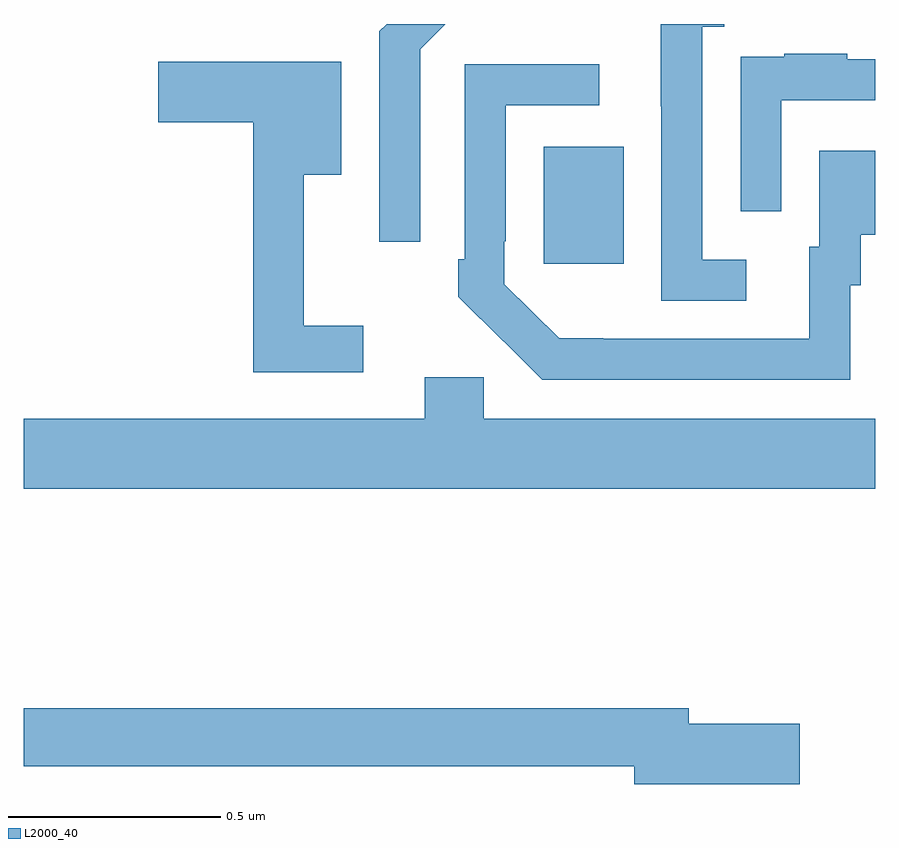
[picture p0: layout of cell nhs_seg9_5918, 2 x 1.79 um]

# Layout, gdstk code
import gdstk
lib = gdstk.Library(unit=1e-6, precision=1e-09)
def R(c, l, rs):  # rectangles x0, y0, x1, y1
    for r in rs: c.add(gdstk.rectangle(r[:2], r[2:], *l))
def P(c, l, *ps):  # polygons
    for p in ps: c.add(gdstk.Polygon(p, *l))
L2000_40 = (2000, 40)

nhs_seg9_5918 = lib.new_cell('nhs_seg9_5918')
R(nhs_seg9_5918, L2000_40, [(186.221,1208.937,186.409,1209.211)])
P(nhs_seg9_5918, L2000_40, [(185.931,1209.441),(185.99,1209.5),(185.852,1209.5),(185.835,1209.483),(185.835,1208.988),(185.931,1208.988)],
  [(186.697,1208.946),(186.594,1208.946),(186.594,1209.494),(186.646,1209.494),(186.646,1209.5),(186.497,1209.5),(186.497,1209.307),(186.498,1209.307),(186.498,1208.85),(186.697,1208.85)],
  [(186.78,1209.321),(187,1209.321),(187,1209.417),(186.935,1209.417),(186.935,1209.43),(186.787,1209.43),(186.787,1209.423),(186.685,1209.423),(186.685,1209.314),(186.684,1209.314),(186.684,1209.06),(186.78,1209.06)],
  [(185.797,1208.791),(185.657,1208.791),(185.657,1209.146),(185.746,1209.146),(185.746,1209.411),(185.316,1209.411),(185.316,1209.269),(185.539,1209.269),(185.539,1208.682),(185.797,1208.682)],
  [(186.942,1208.886),(186.967,1208.886),(186.967,1209.005),(187,1209.005),(187,1209.202),(186.869,1209.202),(186.869,1208.976),(186.845,1208.976),(186.845,1208.76),(186.361,1208.76),(186.361,1208.761),(186.258,1208.761),(186.129,1208.889),(186.129,1208.989),(186.132,1208.989),(186.132,1209.309),(186.352,1209.309),(186.352,1209.405),(186.036,1209.405),(186.036,1208.947),(186.021,1208.947),(186.021,1208.859),(186.126,1208.754),(186.127,1208.755),(186.218,1208.664),(186.942,1208.664)],
  [(187,1208.572),(186.081,1208.572),(186.081,1208.67),(185.942,1208.67),(185.942,1208.572),(185,1208.572),(185,1208.408),(187,1208.408)],
  [(186.823,1207.856),(186.562,1207.856),(186.562,1207.892),(185,1207.892),(185,1207.756),(186.434,1207.756),(186.434,1207.714),(186.823,1207.714)])

lib.write_gds('nhs_seg9_5918.gds')
